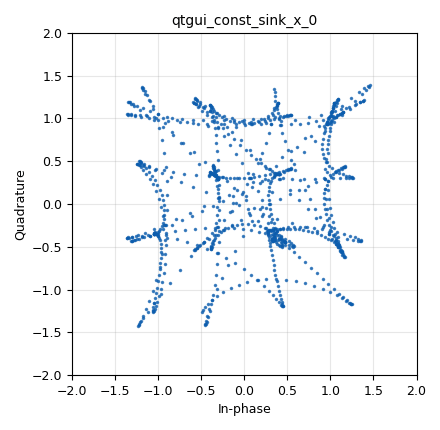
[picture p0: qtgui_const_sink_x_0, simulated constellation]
<?xml version='1.0' encoding='utf-8'?>
<?grc format='1' created='3.7.10'?>
<flow_graph>
<block>
<key>options</key>
<param><key>id</key><value>top_block</value></param>
<param><key>generate_options</key><value>qt_gui</value></param>
</block>
<block>
<key>variable</key>
<param><key>id</key><value>addr</value></param>
<param><key>value</key><value>"192.168.1.100"</value></param>
</block>
<block>
<key>variable_qtgui_check_box</key>
<param><key>id</key><value>ptt</value></param>
<param><key>value</key><value>False</value></param>
<param><key>false</key><value>False</value></param>
<param><key>gui_hint</key><value>0,0,1,1</value></param>
<param><key>true</key><value>True</value></param>
<param><key>type</key><value>int</value></param>
</block>
<block>
<key>variable_constellation</key>
<param><key>id</key><value>qam</value></param>
<param><key>const_points</key><value>[(-3-3j),(-1-3j),(1-3j),(3-3j),(-3-1j),(-1-1j),(1-1j),(3-1j),(-3+1j),(-1+1j),(1+1j),(3+1j),(-3+3j),(-1+3j),(1+3j),(3+3j)]</value></param>
<param><key>type</key><value>calcdist</value></param>
<param><key>dims</key><value>1</value></param>
<param><key>rot_sym</key><value>4</value></param>
<param><key>precision</key><value>8</value></param>
<param><key>sym_map</key><value>[0, 4, 12, 8, 1, 5, 13, 9, 3, 7, 15, 11, 2, 6, 14, 10]</value></param>
</block>
<block>
<key>variable</key>
<param><key>id</key><value>rx_samp_rate</value></param>
<param><key>_enabled</key><value>0</value></param>
<param><key>value</key><value>100000</value></param>
</block>
<block>
<key>variable</key>
<param><key>id</key><value>samp_rate</value></param>
<param><key>_enabled</key><value>0</value></param>
<param><key>value</key><value>100000</value></param>
</block>
<block>
<key>variable</key>
<param><key>id</key><value>tx_samp_rate</value></param>
<param><key>_enabled</key><value>0</value></param>
<param><key>value</key><value>100000</value></param>
</block>
<block>
<key>analog_random_source_x</key>
<param><key>id</key><value>analog_random_source_x_0</value></param>
<param><key>max</key><value>256</value></param>
<param><key>min</key><value>0</value></param>
<param><key>num_samps</key><value>1000</value></param>
<param><key>type</key><value>byte</value></param>
<param><key>repeat</key><value>True</value></param>
</block>
<block>
<key>blocks_unpacked_to_packed_xx</key>
<param><key>id</key><value>blocks_unpacked_to_packed_xx_0</value></param>
<param><key>bits_per_chunk</key><value>1</value></param>
<param><key>endianness</key><value>gr.GR_MSB_FIRST</value></param>
<param><key>type</key><value>byte</value></param>
</block>
<block>
<key>digital_constellation_modulator</key>
<param><key>id</key><value>digital_constellation_modulator_0</value></param>
<param><key>constellation</key><value>qam</value></param>
<param><key>differential</key><value>False</value></param>
<param><key>excess_bw</key><value>0.9</value></param>
<param><key>samples_per_symbol</key><value>25</value></param>
</block>
<block>
<key>qtgui_const_sink_x</key>
<param><key>id</key><value>qtgui_const_sink_x_0</value></param>
<param><key>size</key><value>1024</value></param>
<param><key>type</key><value>complex</value></param>
</block>
<block>
<key>qtgui_freq_sink_x</key>
<param><key>id</key><value>qtgui_freq_sink_x_0</value></param>
<param><key>bw</key><value>rx_samp_rate</value></param>
<param><key>fc</key><value>0</value></param>
<param><key>_enabled</key><value>0</value></param>
<param><key>fftsize</key><value>1024</value></param>
<param><key>gui_hint</key><value>1,0,1,1</value></param>
<param><key>name</key><value>QT GUI Plot</value></param>
<param><key>showports</key><value>True</value></param>
<param><key>type</key><value>complex</value></param>
<param><key>wintype</key><value>firdes.WIN_BLACKMAN_hARRIS</value></param>
</block>
<block>
<key>red_pitaya_wide_sink</key>
<param><key>id</key><value>red_pitaya_wide_sink_0</value></param>
<param><key>addr</key><value>192.168.1.100</value></param>
<param><key>freq</key><value>0</value></param>
<param><key>corr</key><value>0</value></param>
<param><key>mask</key><value>3</value></param>
<param><key>ptt</key><value>True</value></param>
<param><key>port</key><value>1001</value></param>
<param><key>rate</key><value>100000</value></param>
</block>
<block>
<key>red_pitaya_wide_source</key>
<param><key>id</key><value>red_pitaya_wide_source_0</value></param>
<param><key>addr</key><value>str(addr)</value></param>
<param><key>freq</key><value>0</value></param>
<param><key>_enabled</key><value>0</value></param>
<param><key>corr</key><value>0</value></param>
<param><key>mask</key><value>3</value></param>
<param><key>port</key><value>1001</value></param>
<param><key>rate</key><value>rx_samp_rate</value></param>
</block>
<connection><source_block_id>analog_random_source_x_0</source_block_id><sink_block_id>blocks_unpacked_to_packed_xx_0</sink_block_id><source_key>0</source_key><sink_key>0</sink_key></connection>
<connection><source_block_id>blocks_unpacked_to_packed_xx_0</source_block_id><sink_block_id>digital_constellation_modulator_0</sink_block_id><source_key>0</source_key><sink_key>0</sink_key></connection>
<connection><source_block_id>digital_constellation_modulator_0</source_block_id><sink_block_id>qtgui_const_sink_x_0</sink_block_id><source_key>0</source_key><sink_key>0</sink_key></connection>
<connection><source_block_id>digital_constellation_modulator_0</source_block_id><sink_block_id>red_pitaya_wide_sink_0</sink_block_id><source_key>0</source_key><sink_key>0</sink_key></connection>
<connection><source_block_id>red_pitaya_wide_source_0</source_block_id><sink_block_id>qtgui_freq_sink_x_0</sink_block_id><source_key>0</source_key><sink_key>0</sink_key></connection>
</flow_graph>
